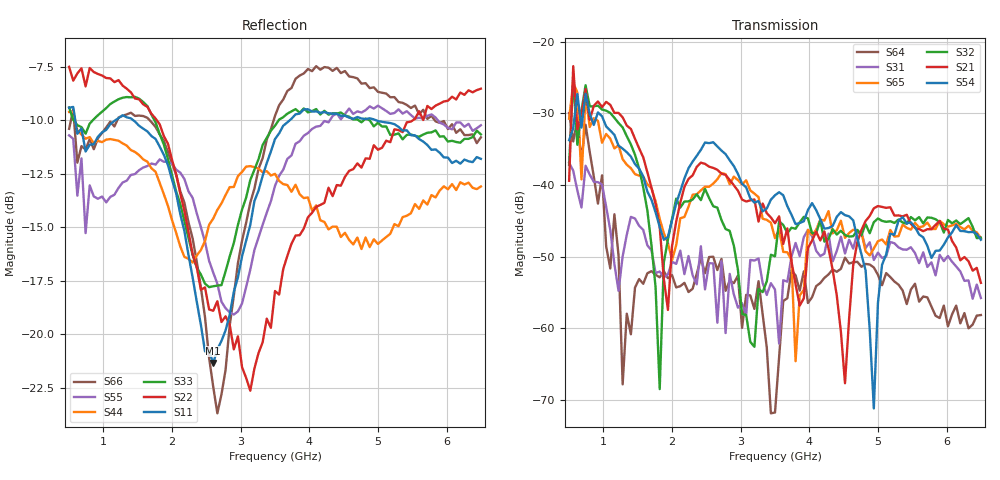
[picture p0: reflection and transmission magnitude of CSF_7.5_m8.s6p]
!Keysight Technologies,M9804A,MY58100912,A.14.10.03
!Date: Thursday, April 27, 2023 10:28:33
!Correction: S11(C  6-Port  )
!S12(C  6-Port  )
!S13(C  6-Port  )
!S14(C  6-Port  )
!S15(C  6-Port  )
!S16(C  6-Port  )
!S21(C  6-Port  )
!S22(C  6-Port  )
!S23(C  6-Port  )
!S24(C  6-Port  )
!S25(C  6-Port  )
!S26(C  6-Port  )
!S31(C  6-Port  )
!S32(C  6-Port  )
!S33(C  6-Port  )
!S34(C  6-Port  )
!S35(C  6-Port  )
!S36(C  6-Port  )
!S41(C  6-Port  )
!S42(C  6-Port  )
!S43(C  6-Port  )
!S44(C  6-Port  )
!S45(C  6-Port  )
!S46(C  6-Port  )
!S51(C  6-Port  )
!S52(C  6-Port  )
!S53(C  6-Port  )
!S54(C  6-Port  )
!S55(C  6-Port  )
!S56(C  6-Port  )
!S61(C  6-Port  )
!S62(C  6-Port  )
!S63(C  6-Port  )
!S64(C  6-Port  )
!S65(C  6-Port  )
!S66(C  6-Port  )
!S6P File: Measurement: :
# Hz S  RI  R 50
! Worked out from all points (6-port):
!   101 points, 500 MHz to 6.5 GHz, reference 50 ohm
!   strongest paths, dB at 500 MHz, 2 GHz, 3.5 GHz, 5 GHz, 6.5 GHz:
!     S54: -33.8, -44.9, -41.5, -56.5, -47.7
!     S21: -39.4, -48.5, -45.4, -43.0, -53.7
!     S32: -37.2, -44.7, -50.0, -44.7, -47.4
!     S65: -30.8, -50.5, -47.4, -47.9, -47.4
!     S31: -36.9, -50.7, -54.6, -49.5, -55.8
!     S64: -30.0, -52.6, -71.8, -52.6, -58.2
!   lowest |S11| = -21.3 dB at 2.6 GHz (marker M1), VSWR 1.19, Z = 42.4 + j2.23 ohm
!   |S11| at or under -10 dB: 590.1 MHz to 1.171 GHz (580.5 MHz wide, 65.9 % of centre); 1.438 GHz to 3.713 GHz (2.275 GHz wide, 88.3 % of centre); 4.977 GHz to end of sweep
